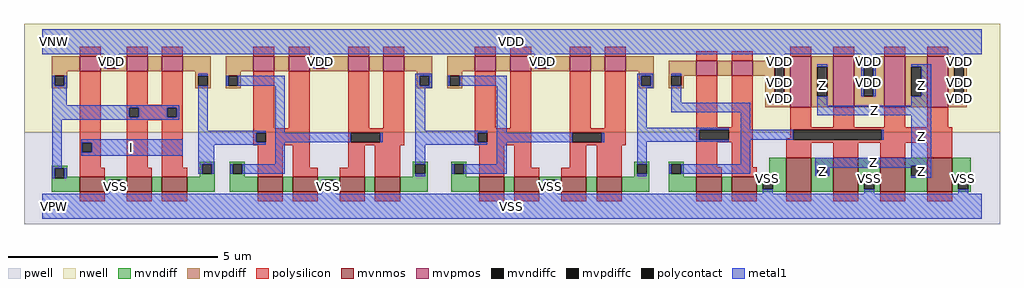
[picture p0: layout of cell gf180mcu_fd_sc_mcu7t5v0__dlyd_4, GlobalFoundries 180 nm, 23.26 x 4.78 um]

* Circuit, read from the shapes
.subckt gf180mcu_fd_sc_mcu7t5v0__dlyd_4 I Z VDD VNW VPW VSS
XM1 VSS I n1 VPW nfet_06v0 w=0.36u l=0.6u
XM2 n2 n1 VSS VPW nfet_06v0 w=0.36u l=0.6u
XM3 n3 n1 n2 VPW nfet_06v0 w=0.36u l=0.6u
XM4 n4 n3 n5 VPW nfet_06v0 w=0.36u l=0.6u
XM5 VSS n3 n4 VPW nfet_06v0 w=0.36u l=0.6u
XM6 n6 n5 VSS VPW nfet_06v0 w=0.36u l=0.6u
XM7 n7 n5 n6 VPW nfet_06v0 w=0.36u l=0.6u
XM8 n8 n7 n9 VPW nfet_06v0 w=0.36u l=0.6u
XM9 VSS n7 n8 VPW nfet_06v0 w=0.36u l=0.6u
XM10 n10 n9 VSS VPW nfet_06v0 w=0.36u l=0.6u
XM11 n11 n9 n10 VPW nfet_06v0 w=0.36u l=0.6u
XM12 n12 n11 n13 VPW nfet_06v0 w=0.365u l=0.6u
XM13 VSS n11 n12 VPW nfet_06v0 w=0.365u l=0.6u
XM14 Z n13 VSS VPW nfet_06v0 w=0.82u l=0.6u m=4
XM15 VDD I n1 VNW pfet_06v0 w=0.36u l=0.5u
XM16 n14 n1 VDD VNW pfet_06v0 w=0.36u l=0.5u
XM17 n3 n1 n14 VNW pfet_06v0 w=0.36u l=0.5u
XM18 n15 n3 n5 VNW pfet_06v0 w=0.36u l=0.5u
XM19 VDD n3 n15 VNW pfet_06v0 w=0.36u l=0.5u
XM20 n16 n5 VDD VNW pfet_06v0 w=0.36u l=0.5u
XM21 n7 n5 n16 VNW pfet_06v0 w=0.36u l=0.5u
XM22 n17 n7 n9 VNW pfet_06v0 w=0.36u l=0.5u
XM23 VDD n7 n17 VNW pfet_06v0 w=0.36u l=0.5u
XM24 n18 n9 VDD VNW pfet_06v0 w=0.36u l=0.5u
XM25 n11 n9 n18 VNW pfet_06v0 w=0.36u l=0.5u
XM26 n19 n11 n13 VNW pfet_06v0 w=0.36u l=0.5u
XM27 VDD n11 n19 VNW pfet_06v0 w=0.36u l=0.5u
XM28 Z n13 VDD VNW pfet_06v0 w=1.22u l=0.5u m=4
.ends

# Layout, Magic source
magic
tech gf180mcuD
magscale 1 10
<< nwell >>
rect -86 352 4566 870
<< pwell >>
rect -86 -86 4566 352
<< mvnmos >>
rect 179 68 299 140
rect 403 68 523 140
rect 571 68 691 140
rect 1027 68 1147 140
rect 1195 68 1315 140
rect 1419 68 1539 140
rect 1587 68 1707 140
rect 2083 68 2203 140
rect 2251 68 2371 140
rect 2475 68 2595 140
rect 2643 68 2763 140
rect 3119 68 3239 141
rect 3287 68 3407 141
rect 3547 68 3667 232
rect 3771 68 3891 232
rect 3995 68 4115 232
rect 4219 68 4339 232
<< mvpmos >>
rect 179 644 279 716
rect 403 644 503 716
rect 571 644 671 716
rect 1007 644 1107 716
rect 1175 644 1275 716
rect 1459 644 1559 716
rect 1627 644 1727 716
rect 2063 644 2163 716
rect 2231 644 2331 716
rect 2515 644 2615 716
rect 2683 644 2783 716
rect 3119 622 3219 694
rect 3287 622 3387 694
rect 3567 472 3667 716
rect 3771 472 3871 716
rect 4015 472 4115 716
rect 4219 472 4319 716
<< mvndiff >>
rect 47 180 119 193
rect 47 134 60 180
rect 106 140 119 180
rect 751 200 823 213
rect 751 154 764 200
rect 810 154 823 200
rect 751 140 823 154
rect 106 134 179 140
rect 47 68 179 134
rect 299 127 403 140
rect 299 81 328 127
rect 374 81 403 127
rect 299 68 403 81
rect 523 68 571 140
rect 691 68 823 140
rect 895 200 967 213
rect 895 154 908 200
rect 954 154 967 200
rect 895 140 967 154
rect 1767 200 1839 213
rect 1767 154 1780 200
rect 1826 154 1839 200
rect 1767 140 1839 154
rect 895 68 1027 140
rect 1147 68 1195 140
rect 1315 127 1419 140
rect 1315 81 1344 127
rect 1390 81 1419 127
rect 1315 68 1419 81
rect 1539 68 1587 140
rect 1707 68 1839 140
rect 1951 200 2023 213
rect 1951 154 1964 200
rect 2010 154 2023 200
rect 1951 140 2023 154
rect 2823 200 2895 213
rect 2823 154 2836 200
rect 2882 154 2895 200
rect 2823 140 2895 154
rect 1951 68 2083 140
rect 2203 68 2251 140
rect 2371 127 2475 140
rect 2371 81 2400 127
rect 2446 81 2475 127
rect 2371 68 2475 81
rect 2595 68 2643 140
rect 2763 68 2895 140
rect 2987 200 3059 213
rect 2987 154 3000 200
rect 3046 154 3059 200
rect 2987 141 3059 154
rect 3467 141 3547 232
rect 2987 68 3119 141
rect 3239 68 3287 141
rect 3407 127 3547 141
rect 3407 81 3436 127
rect 3482 81 3547 127
rect 3407 68 3547 81
rect 3667 192 3771 232
rect 3667 146 3696 192
rect 3742 146 3771 192
rect 3667 68 3771 146
rect 3891 127 3995 232
rect 3891 81 3920 127
rect 3966 81 3995 127
rect 3891 68 3995 81
rect 4115 192 4219 232
rect 4115 146 4144 192
rect 4190 146 4219 192
rect 4115 68 4219 146
rect 4339 127 4427 232
rect 4339 81 4368 127
rect 4414 81 4427 127
rect 4339 68 4427 81
<< mvpdiff >>
rect 47 644 179 716
rect 279 703 403 716
rect 279 657 308 703
rect 354 657 403 703
rect 279 644 403 657
rect 503 644 571 716
rect 671 644 803 716
rect 47 621 119 644
rect 47 575 60 621
rect 106 575 119 621
rect 47 562 119 575
rect 731 621 803 644
rect 731 575 744 621
rect 790 575 803 621
rect 731 562 803 575
rect 875 644 1007 716
rect 1107 644 1175 716
rect 1275 703 1459 716
rect 1275 657 1304 703
rect 1350 657 1459 703
rect 1275 644 1459 657
rect 1559 644 1627 716
rect 1727 644 1859 716
rect 875 621 947 644
rect 875 575 888 621
rect 934 575 947 621
rect 875 562 947 575
rect 1787 621 1859 644
rect 1787 575 1800 621
rect 1846 575 1859 621
rect 1787 562 1859 575
rect 1931 644 2063 716
rect 2163 644 2231 716
rect 2331 703 2515 716
rect 2331 657 2360 703
rect 2406 657 2515 703
rect 2331 644 2515 657
rect 2615 644 2683 716
rect 2783 644 2915 716
rect 3447 694 3567 716
rect 1931 621 2003 644
rect 1931 575 1944 621
rect 1990 575 2003 621
rect 1931 562 2003 575
rect 2843 621 2915 644
rect 2843 575 2856 621
rect 2902 575 2915 621
rect 2843 562 2915 575
rect 2987 622 3119 694
rect 3219 622 3287 694
rect 3387 665 3567 694
rect 3387 622 3492 665
rect 2987 621 3059 622
rect 2987 575 3000 621
rect 3046 575 3059 621
rect 2987 562 3059 575
rect 3447 525 3492 622
rect 3538 525 3567 665
rect 3447 472 3567 525
rect 3667 665 3771 716
rect 3667 525 3696 665
rect 3742 525 3771 665
rect 3667 472 3771 525
rect 3871 665 4015 716
rect 3871 525 3916 665
rect 3962 525 4015 665
rect 3871 472 4015 525
rect 4115 665 4219 716
rect 4115 525 4144 665
rect 4190 525 4219 665
rect 4115 472 4219 525
rect 4319 665 4407 716
rect 4319 525 4348 665
rect 4394 525 4407 665
rect 4319 472 4407 525
<< mvndiffc >>
rect 60 134 106 180
rect 764 154 810 200
rect 328 81 374 127
rect 908 154 954 200
rect 1780 154 1826 200
rect 1344 81 1390 127
rect 1964 154 2010 200
rect 2836 154 2882 200
rect 2400 81 2446 127
rect 3000 154 3046 200
rect 3436 81 3482 127
rect 3696 146 3742 192
rect 3920 81 3966 127
rect 4144 146 4190 192
rect 4368 81 4414 127
<< mvpdiffc >>
rect 308 657 354 703
rect 60 575 106 621
rect 744 575 790 621
rect 1304 657 1350 703
rect 888 575 934 621
rect 1800 575 1846 621
rect 2360 657 2406 703
rect 1944 575 1990 621
rect 2856 575 2902 621
rect 3000 575 3046 621
rect 3492 525 3538 665
rect 3696 525 3742 665
rect 3916 525 3962 665
rect 4144 525 4190 665
rect 4348 525 4394 665
<< polysilicon >>
rect 179 716 279 760
rect 403 716 503 760
rect 571 716 671 760
rect 1007 716 1107 760
rect 1175 716 1275 760
rect 1459 716 1559 760
rect 1627 716 1727 760
rect 2063 716 2163 760
rect 2231 716 2331 760
rect 2515 716 2615 760
rect 2683 716 2783 760
rect 179 303 279 644
rect 179 257 192 303
rect 238 257 279 303
rect 179 184 279 257
rect 403 483 503 644
rect 571 483 671 644
rect 403 470 671 483
rect 403 424 416 470
rect 462 424 596 470
rect 642 424 671 470
rect 403 411 671 424
rect 403 184 503 411
rect 571 184 671 411
rect 1007 371 1107 644
rect 1175 371 1275 644
rect 1007 350 1275 371
rect 1007 304 1020 350
rect 1066 304 1275 350
rect 1007 290 1275 304
rect 179 140 299 184
rect 403 140 523 184
rect 571 140 691 184
rect 1027 140 1147 290
rect 1195 184 1275 290
rect 1459 371 1559 644
rect 1627 371 1727 644
rect 3119 694 3219 738
rect 3287 694 3387 738
rect 3567 716 3667 760
rect 3771 716 3871 760
rect 4015 716 4115 760
rect 4219 716 4319 760
rect 1459 350 1727 371
rect 1459 304 1472 350
rect 1612 304 1727 350
rect 1459 290 1727 304
rect 2063 371 2163 644
rect 2231 371 2331 644
rect 2063 350 2331 371
rect 2063 304 2076 350
rect 2122 304 2331 350
rect 2063 290 2331 304
rect 1459 184 1539 290
rect 1195 140 1315 184
rect 1419 140 1539 184
rect 1587 140 1707 290
rect 2083 140 2203 290
rect 2251 184 2331 290
rect 2515 371 2615 644
rect 2683 371 2783 644
rect 2515 350 2783 371
rect 2515 304 2528 350
rect 2668 304 2783 350
rect 2515 290 2783 304
rect 3119 377 3219 622
rect 3287 377 3387 622
rect 3119 364 3387 377
rect 3119 318 3132 364
rect 3272 318 3387 364
rect 3567 377 3667 472
rect 3771 377 3871 472
rect 4015 377 4115 472
rect 3567 376 4115 377
rect 4219 376 4319 472
rect 3567 364 4339 376
rect 3567 323 3580 364
rect 3119 305 3387 318
rect 2515 184 2595 290
rect 2251 140 2371 184
rect 2475 140 2595 184
rect 2643 140 2763 290
rect 3119 185 3219 305
rect 3287 185 3387 305
rect 3547 318 3580 323
rect 4002 318 4339 364
rect 3547 302 4339 318
rect 3547 232 3667 302
rect 3771 232 3891 302
rect 3995 232 4115 302
rect 4219 232 4339 302
rect 3119 141 3239 185
rect 3287 141 3407 185
rect 179 24 299 68
rect 403 24 523 68
rect 571 24 691 68
rect 1027 24 1147 68
rect 1195 24 1315 68
rect 1419 24 1539 68
rect 1587 24 1707 68
rect 2083 24 2203 68
rect 2251 24 2371 68
rect 2475 24 2595 68
rect 2643 24 2763 68
rect 3119 24 3239 68
rect 3287 24 3407 68
rect 3547 24 3667 68
rect 3771 24 3891 68
rect 3995 24 4115 68
rect 4219 24 4339 68
<< polycontact >>
rect 192 257 238 303
rect 416 424 462 470
rect 596 424 642 470
rect 1020 304 1066 350
rect 1472 304 1612 350
rect 2076 304 2122 350
rect 2528 304 2668 350
rect 3132 318 3272 364
rect 3580 318 4002 364
<< metal1 >>
rect 0 724 4480 844
rect 297 703 365 724
rect 297 657 308 703
rect 354 657 365 703
rect 1293 703 1361 724
rect 1293 657 1304 703
rect 1350 657 1361 703
rect 2349 703 2417 724
rect 2349 657 2360 703
rect 2406 657 2417 703
rect 3492 665 3538 724
rect 744 621 790 632
rect 1780 621 1857 632
rect 2836 621 2913 632
rect 49 575 60 621
rect 106 575 117 621
rect 49 481 117 575
rect 877 575 888 621
rect 934 575 1158 621
rect 49 470 653 481
rect 49 424 416 470
rect 462 424 596 470
rect 642 424 653 470
rect 49 413 653 424
rect 49 180 95 413
rect 744 361 790 575
rect 744 350 1066 361
rect 186 303 671 320
rect 186 257 192 303
rect 238 257 671 303
rect 186 240 671 257
rect 744 304 1020 350
rect 744 293 1066 304
rect 1112 350 1158 575
rect 1780 575 1800 621
rect 1846 575 1857 621
rect 1933 575 1944 621
rect 1990 575 2214 621
rect 1780 564 1857 575
rect 1780 361 1826 564
rect 1780 350 2122 361
rect 1112 304 1472 350
rect 1612 304 1623 350
rect 1780 304 2076 350
rect 744 200 821 293
rect 1112 200 1158 304
rect 49 134 60 180
rect 106 134 117 180
rect 744 154 764 200
rect 810 154 821 200
rect 897 154 908 200
rect 954 154 1158 200
rect 1780 293 2122 304
rect 2168 350 2214 575
rect 2836 575 2856 621
rect 2902 575 2913 621
rect 2836 564 2913 575
rect 3000 621 3046 632
rect 2836 375 2882 564
rect 3000 493 3046 575
rect 3492 506 3538 525
rect 3696 665 3742 676
rect 3905 665 3973 724
rect 3905 525 3916 665
rect 3962 525 3973 665
rect 4144 665 4238 676
rect 4190 525 4238 665
rect 3000 447 3376 493
rect 2836 364 3272 375
rect 2168 304 2528 350
rect 2668 304 2679 350
rect 2836 318 3132 364
rect 2836 307 3272 318
rect 3330 364 3376 447
rect 3696 479 3742 525
rect 4144 479 4238 525
rect 4348 665 4394 724
rect 4348 506 4394 525
rect 3696 433 4238 479
rect 3330 318 3580 364
rect 4002 318 4013 364
rect 1780 200 1826 293
rect 2168 200 2214 304
rect 1953 154 1964 200
rect 2010 154 2214 200
rect 2836 200 2882 307
rect 3330 200 3376 318
rect 4144 230 4238 433
rect 2989 154 3000 200
rect 3046 154 3376 200
rect 3685 192 4238 230
rect 1780 143 1826 154
rect 2836 143 2882 154
rect 3685 146 3696 192
rect 3742 184 4144 192
rect 3742 146 3753 184
rect 4190 146 4238 192
rect 3436 127 3482 138
rect 317 81 328 127
rect 374 81 385 127
rect 317 60 385 81
rect 1333 81 1344 127
rect 1390 81 1401 127
rect 1333 60 1401 81
rect 2389 81 2400 127
rect 2446 81 2457 127
rect 2389 60 2457 81
rect 3436 60 3482 81
rect 3920 127 3966 138
rect 4144 135 4238 146
rect 3920 60 3966 81
rect 4368 127 4414 138
rect 4368 60 4414 81
rect 0 -60 4480 60
<< labels >>
flabel metal1 s 4144 479 4238 676 0 FreeSans 400 0 0 0 Z
port 2 nsew default output
flabel metal1 s 0 724 4480 844 0 FreeSans 400 0 0 0 VDD
port 3 nsew power bidirectional abutment
flabel metal1 s 186 240 671 320 0 FreeSans 400 0 0 0 I
port 1 nsew default input
flabel metal1 s 4368 127 4414 138 0 FreeSans 400 0 0 0 VSS
port 6 nsew ground bidirectional abutment
flabel nwell s 10 734 110 834 0 FreeSans 400 0 0 0 VNW
port 4 nsew power bidirectional
flabel pwell s 10 -50 110 50 0 FreeSans 400 0 0 0 VPW
port 5 nsew ground bidirectional
rlabel metal1 s 3696 479 3742 676 1 Z
port 2 nsew default output
rlabel metal1 s 3696 433 4238 479 1 Z
port 2 nsew default output
rlabel metal1 s 4144 230 4238 433 1 Z
port 2 nsew default output
rlabel metal1 s 3685 184 4238 230 1 Z
port 2 nsew default output
rlabel metal1 s 4144 146 4238 184 1 Z
port 2 nsew default output
rlabel metal1 s 3685 146 3753 184 1 Z
port 2 nsew default output
rlabel metal1 s 4144 135 4238 146 1 Z
port 2 nsew default output
rlabel metal1 s 4348 657 4394 724 1 VDD
port 3 nsew power bidirectional abutment
rlabel metal1 s 3905 657 3973 724 1 VDD
port 3 nsew power bidirectional abutment
rlabel metal1 s 3492 657 3538 724 1 VDD
port 3 nsew power bidirectional abutment
rlabel metal1 s 2349 657 2417 724 1 VDD
port 3 nsew power bidirectional abutment
rlabel metal1 s 1293 657 1361 724 1 VDD
port 3 nsew power bidirectional abutment
rlabel metal1 s 297 657 365 724 1 VDD
port 3 nsew power bidirectional abutment
rlabel metal1 s 4348 525 4394 657 1 VDD
port 3 nsew power bidirectional abutment
rlabel metal1 s 3905 525 3973 657 1 VDD
port 3 nsew power bidirectional abutment
rlabel metal1 s 3492 525 3538 657 1 VDD
port 3 nsew power bidirectional abutment
rlabel metal1 s 4348 506 4394 525 1 VDD
port 3 nsew power bidirectional abutment
rlabel metal1 s 3492 506 3538 525 1 VDD
port 3 nsew power bidirectional abutment
rlabel metal1 s 3920 127 3966 138 1 VSS
port 6 nsew ground bidirectional abutment
rlabel metal1 s 3436 127 3482 138 1 VSS
port 6 nsew ground bidirectional abutment
rlabel metal1 s 4368 60 4414 127 1 VSS
port 6 nsew ground bidirectional abutment
rlabel metal1 s 3920 60 3966 127 1 VSS
port 6 nsew ground bidirectional abutment
rlabel metal1 s 3436 60 3482 127 1 VSS
port 6 nsew ground bidirectional abutment
rlabel metal1 s 2389 60 2457 127 1 VSS
port 6 nsew ground bidirectional abutment
rlabel metal1 s 1333 60 1401 127 1 VSS
port 6 nsew ground bidirectional abutment
rlabel metal1 s 317 60 385 127 1 VSS
port 6 nsew ground bidirectional abutment
rlabel metal1 s 0 -60 4480 60 1 VSS
port 6 nsew ground bidirectional abutment
<< properties >>
string FIXED_BBOX 0 0 4480 784
string GDS_END 1144252
string GDS_FILE $PDKPATH/libs.ref/gf180mcu_fd_sc_mcu7t5v0/gds/gf180mcu_fd_sc_mcu7t5v0.gds
string GDS_START 1136152
string LEFclass core
string LEFsite GF018hv5v_mcu_sc7
string LEFsymmetry X Y
<< end >>
